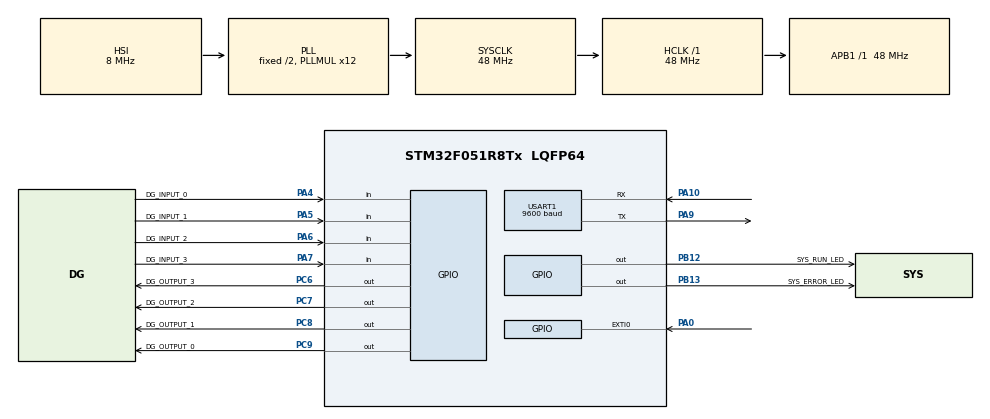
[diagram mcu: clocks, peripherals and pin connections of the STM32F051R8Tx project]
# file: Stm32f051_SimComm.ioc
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IWDG.Prescaler=IWDG_PRESCALER_4
Mcu.Family=STM32F0
Mcu.Name=STM32F051R8Tx
Mcu.Package=LQFP64
NVIC.EXTI0_1_IRQn=true\:0\:0\:false\:false\:true\:true\:true
NVIC.USART1_IRQn=true\:0\:0\:false\:false\:true\:true\:true
PA0.Signal=GPXTI0
PA10.Mode=Asynchronous
PA10.Signal=USART1_RX
PA13.GPIO_Label=SWDIO
PA13.Mode=Serial_Wire
PA13.Signal=SYS_SWDIO
PA14.GPIO_Label=SWCLK
PA14.Mode=Serial_Wire
PA14.Signal=SYS_SWCLK
PA4.GPIO_Label=DG_INPUT_0
PA4.Signal=GPIO_Input
PA5.GPIO_Label=DG_INPUT_1
PA5.Signal=GPIO_Input
PA6.GPIO_Label=DG_INPUT_2
PA6.Signal=GPIO_Input
PA7.GPIO_Label=DG_INPUT_3
PA7.Signal=GPIO_Input
PA9.Mode=Asynchronous
PA9.Signal=USART1_TX
PB12.GPIO_Label=SYS_RUN_LED
PB12.Signal=GPIO_Output
PB13.GPIO_Label=SYS_ERROR_LED
PB13.Signal=GPIO_Output
PC6.GPIO_Label=DG_OUTPUT_3
PC6.PinState=GPIO_PIN_RESET
PC6.Signal=GPIO_Output
PC7.GPIO_Label=DG_OUTPUT_2
PC7.PinState=GPIO_PIN_RESET
PC7.Signal=GPIO_Output
PC8.GPIO_Label=DG_OUTPUT_1
PC8.PinState=GPIO_PIN_RESET
PC8.Signal=GPIO_Output
PC9.GPIO_Label=DG_OUTPUT_0
PC9.PinState=GPIO_PIN_RESET
PC9.Signal=GPIO_Output
ProjectManager.HeapSize=0x200
ProjectManager.StackSize=0x400
ProjectManager.TargetToolchain=STM32CubeIDE
RCC.AHBFreq_Value=48000000
RCC.APB1Freq_Value=48000000
RCC.APB1TimFreq_Value=48000000
RCC.HCLKFreq_Value=48000000
RCC.PLLMUL=RCC_PLL_MUL12
RCC.SYSCLKFreq_VALUE=48000000
RCC.SYSCLKSource=RCC_SYSCLKSOURCE_PLLCLK
USART1.BaudRate=9600
USART1.VirtualMode-Asynchronous=VM_ASYNC
VP_IWDG_VS_IWDG.Mode=IWDG_Activate
board=STM32F0DISCOVERY

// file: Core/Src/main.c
/* USER CODE BEGIN Header */
/**
 ******************************************************************************
 * @file           : main.c
 * @brief          : Main program body
 ******************************************************************************
 * @attention
 *
 * <h2><center>&copy; Copyright (c) 2020 STMicroelectronics.
 * All rights reserved.</center></h2>
 *
 * This software component is licensed by ST under BSD 3-Clause license,
 * the "License"; You may not use this file except in compliance with the
 * License. You may obtain a copy of the License at:
 *                        opensource.org/licenses/BSD-3-Clause
 *
 ******************************************************************************
 */
/* USER CODE END Header */

#include "main.h"

/* USER CODE BEGIN PD */

#define FLASH_ADRESS_PASS	0x0800FC00
#define FLASH_ADRESS_PHONE	0x0800F800
/* USER CODE END PD */

IWDG_HandleTypeDef hiwdg;
UART_HandleTypeDef huart1;

/* USER CODE BEGIN PV */
char rxData[2];
char rxBuffer[200];
int rCount = 0;
int rxindex = 0;
int smsRecFlag = 0;

volatile char responsePhone[14];

/* USER CODE END PV */

void SystemClock_Config(void);
static void MX_GPIO_Init(void);
static void MX_USART1_UART_Init(void);
static void MX_IWDG_Init(void);

/* USER CODE BEGIN 0 */

void clearBuffer() {
	rCount = 0;
	rxindex = 0;
	int i = 0;
	for (i = 0; i < 200; i++) {
		rxBuffer[i] = '\0';
	}
}
//TODO:SMS GONDERDİKTEN SONRA, ALDIĞI İLK SMS E İŞLEM YAPMIYOR. GONDERDİĞİ IKINCI DEN SONR
void sendSms(char *message, char *number) {

	char str[32];
	strcpy(str, "AT+CMGS=\"");
	strcat(str, number);
	strcat(str, "\"\n");
	HAL_UART_Transmit(&huart1, str, 24, 1000);
	HAL_Delay(1000);

	int smsSize = strlen(message);
	HAL_UART_Transmit(&huart1, message, smsSize, 1000);
	HAL_Delay(1000);
	char foo[] = { 26 }; //Sonlandırma Karakteri 1Ah
	int s;
	s = sizeof(foo);
	HAL_UART_Transmit(&huart1, foo, s, 1000);
	HAL_Delay(1000);

}

void halWriteFlash(uint16_t pass,uint16_t phone1,uint16_t phone2) {
	HAL_FLASH_Unlock();
	FLASH_PageErase(0x0800FC00);

	//0x00000042 in tersleniği 0xFFFFFFBD ile AND işlemine tabi tut. \
	Diğer Bitler Değişmeden CR.PER=0 ve CR.STRT=0 yapılıyor.
	FLASH->CR &= ~0x00000042;

	HAL_FLASH_Program(FLASH_TYPEPROGRAM_HALFWORD, 0x0800FC00, pass);
	HAL_FLASH_Program(FLASH_TYPEPROGRAM_HALFWORD, 0x0800FC02, phone1);
	HAL_FLASH_Program(FLASH_TYPEPROGRAM_HALFWORD, 0x0800FC04, phone2);

	HAL_FLASH_Lock();
}

uint16_t charPassToInt(char pass[]){

	uint32_t resultPass=atoi(pass);
	return resultPass;
}

void halfWordPhonetoChar(uint16_t p0,uint16_t p1, char *resultPhone){
	uint32_t phone32=p1;
	phone32=phone32<<16;
	phone32=phone32|p0;

	char str[14];
	char temp[14];
	sprintf(str, "%d", phone32);
	for(int i=0;i<14;i++){
		temp[i+4]=str[i];
	}

	temp[3]='5';
	temp[2]='0';
	temp[1]='9';
	temp[0]='+';
	strcpy(resultPhone, temp);

}

uint16_t phoneCharToIntLastSeg(char phoneNumber[]){
		char phones[10];
		for(int i=0;i<10;i++){
			phones[i]=phoneNumber[4+i];
		}
		phones[9]='\0';
		uint32_t pNumber=atoi(phones);
		uint16_t resultPhoneSegMSB=pNumber>>16;
		return resultPhoneSegMSB;
}

uint16_t phoneCharToIntFirstSeg(char phoneNumber[]){
		char phones[10];
		for(int i=0;i<10;i++){
			phones[i]=phoneNumber[4+i];
		}
		phones[9]='\0';
		uint32_t pNumber=atoi(phones);
		uint16_t resultPhoneSegLSB=pNumber&0x0000FFFF;
		return resultPhoneSegLSB;
}

void removeSpecialChar(char *text, char removed_char) {
	char *src, *temp;
	for (src = temp = text; *src != '\0'; src++) {
		*temp = *src;
		if (*temp != removed_char) {
			temp++;
		}
	}
	*temp = '\0';
}

int16_t charToAscii(char *pass) {
	uint8_t sayilar = 0;
	uint8_t karakterler = 0;
	int temp = 0;
	for (karakterler = 0; karakterler < 4; karakterler++) {
		for (sayilar = 0; sayilar < 10; sayilar++) {
			if (pass[karakterler] == sayilar + 48) {
				temp = temp << 4;
				temp = temp | sayilar;
			}
		}
	}
	return temp;
}

void getCommandsFromSms(char *sms, char *resultPassw, char *resultCommand,char *resultSubCmd, char *resultCmdTarget) {

	//TODO Komuttan Başka Mesaj geldiğinde Çkış Yapmalı

	char dizi[200];
	strcpy(dizi, sms);
	char *pass = strtok(dizi, "_");
	char *command = strtok(NULL, "_");
	char *subCommand = strtok(NULL, "_");
	char *commandTarget = strtok(NULL, "_");
	uint8_t leght = strlen(pass);
	char tempPassw[5];

	if (leght > 4) {

		tempPassw[4] = '\0';
		tempPassw[3] = pass[leght - 1];
		tempPassw[2] = pass[leght - 2];
		tempPassw[1] = pass[leght - 3];
		tempPassw[0] = pass[leght - 4];
	}

	removeSpecialChar(tempPassw, '\r');
	removeSpecialChar(tempPassw, '\n');
	strcpy(resultPassw, tempPassw);

	removeSpecialChar(command, '\r');
	removeSpecialChar(command, '\n');
	strcpy(resultCommand, command);

	removeSpecialChar(subCommand, '\r');
	removeSpecialChar(subCommand, '\n');
	strcpy(resultSubCmd, subCommand);

	removeSpecialChar(commandTarget, '\r');
	removeSpecialChar(commandTarget, '\n');
	strcpy(resultCmdTarget, commandTarget);
}

const char* phoneNumber(char *sms) {

	int phoneNumberStart = 0;
	int phoneNumberStop = 0;
	int phoneNumberLeght = 0;
	char *tempSMS = sms;

	uint8_t i = 0;
	while (*tempSMS != '+') {
		tempSMS++;
		phoneNumberStart++;
	}
	tempSMS++;
	while (*tempSMS != '+') {
		tempSMS++;
		phoneNumberStart++;
	}
	phoneNumberStop = 13;
	char *phoneNumberVal = (char*) malloc(phoneNumberStop);
	char dizi[200];
	strcpy(dizi, tempSMS);
	strncpy(phoneNumberVal, dizi, phoneNumberStop);
	phoneNumberVal[phoneNumberStop] = '\0';
	return phoneNumberVal;
}

const char* atCommand(char *sms) {
	int atCommandStart = 0;
	int atCommandStop = 0;
	int atCommandLeght = 0;
	char *tempCommand = sms;
	int lenSms = strlen(sms);
	int i = 0;

	while ((*tempCommand != '+') && (atCommandStart < lenSms)) {
		tempCommand++;
		atCommandStart++;
	}
	tempCommand = sms;
	while ((*tempCommand != ':') && (atCommandStart < lenSms)) {
		tempCommand++;
		atCommandStop++;
	}
	atCommandLeght = atCommandStop - atCommandStart;
	if (atCommandLeght > 0) {
		char *atCommandVal = (char*) malloc(atCommandLeght);

		char dizi[lenSms];
		strcpy(dizi, sms + atCommandStart + 1);
		strncpy(atCommandVal, dizi, atCommandLeght);
		atCommandVal[atCommandLeght] = '\0';
		return atCommandVal;
	} else {
		return NULL;
	}
}

//TODO:rxBuffer i parametre olarak almak gerekebilir
void CMT_Message() {

	volatile char passw[6];//sms den gelen sifre
	volatile char command[6];//sms den gelen komut
	volatile char subCommand[6];//sms den gene alt komut
	volatile char commandTarget[5];//sms den gelen  komut hedefi

	const char *phone = phoneNumber(rxBuffer);//sms in atıldığı telefon numarasını alır

	getCommandsFromSms(rxBuffer, passw, command, subCommand, commandTarget);//sms içindeki passw vb alır

	//uint16_t tempPass = charToAscii(passw);
	//uint32_t tempPhone=charToAscii(phone);

	uint16_t passIntSromSMS=charPassToInt(passw);
	volatile uint16_t resultPhoneSegLSB_FromSMS;
	volatile uint16_t resultPhoneSegMSB_FromSMS;
	resultPhoneSegLSB_FromSMS=phoneCharToIntFirstSeg(phone);
	resultPhoneSegMSB_FromSMS=phoneCharToIntLastSeg(phone);
	//Flashdaki son sektor okunuyor
	uint16_t fPass = *(uint16_t*) 0x0800FC00;
	uint16_t fphoneLSB=*(uint16_t*) 0x0800FC02;//flash telefon numarasının lsb si ///TELEFON NUMARARININ BAŞINDA +905 yok
	uint16_t fphoneMSB=*(uint16_t*) 0x0800FC04;//flash da bulunan telefon numarasının msb si

	if(fPass==65535){fPass=0;}//ilk kez çalıştırılıyorsa şifre 0000 girilmeli. flash daki değer 65535 0xFFFF
	if (passIntSromSMS==fPass) {

		/* SMS den gelen telefon numarası yada daha önceden kaydedilmiş flash dan okunan Telefon Numarasının cevap numarası için kullanılıyor
		 * şu anda kumut atılmış numaradan sms den gelen numaraya dönüş yapılıyor. phone "sms den gelen telefon numarasıdır"
		volatile char responsePhone[14];
		halfWordPhonetoChar(resultPhoneSegLSB_FromSMS,resultPhoneSegMSB_FromSMS, responsePhone);
		*/
		if (!(strcmp(command, "Passw"))) {	//ESKI_Passw_Chg_YENI
			//PASSWORD KOMUT FONKSIYONLARI
			if (!(strcmp(subCommand, "Chg"))) {
				uint16_t passFromCharToInt=charPassToInt(commandTarget);
				halWriteFlash(passFromCharToInt, resultPhoneSegLSB_FromSMS, resultPhoneSegMSB_FromSMS);

				sendSms("Sifre ve Cevap Sms Numarasi Degistirildi",phone);
				//changePass(charToAscii(commandTarget));
			}
		}

		if (!(strcmp(command, "Start\0"))) {
			//START KOMUT FONKSIYONLARI
			if (!(strcmp(subCommand, "Motor\0"))) {
				if (!(strcmp(commandTarget, "001"))) {
					HAL_GPIO_WritePin(DG_OUTPUT_0_GPIO_Port, DG_OUTPUT_0_Pin,
							GPIO_PIN_SET);
					sendSms("OK", phone);

				}
				if (!(strcmp(commandTarget, "002"))) {
					HAL_GPIO_WritePin(DG_OUTPUT_1_GPIO_Port, DG_OUTPUT_1_Pin,
							GPIO_PIN_SET);
					sendSms("OK", phone);

				}

				if (!(strcmp(commandTarget, "003"))) {
					HAL_GPIO_WritePin(DG_OUTPUT_2_GPIO_Port, DG_OUTPUT_2_Pin,
							GPIO_PIN_SET);
					sendSms("OK", phone);

				}

				if (!(strcmp(commandTarget, "004"))) {

					HAL_GPIO_WritePin(DG_OUTPUT_3_GPIO_Port, DG_OUTPUT_3_Pin,
							GPIO_PIN_SET);
					sendSms("OK", phone);

				}
			}
		}
		if (!(strcmp(command, "Stop\0"))) {
			//STOP KOMUT FONKSIYONLARI
			if (!(strcmp(subCommand, "Motor"))) {
				if (!(strcmp(commandTarget, "001"))) {
					HAL_GPIO_WritePin(DG_OUTPUT_0_GPIO_Port, DG_OUTPUT_0_Pin,
							GPIO_PIN_RESET);
					sendSms("OK", phone);

				}
				if (!(strcmp(commandTarget, "002"))) {
					HAL_GPIO_WritePin(DG_OUTPUT_1_GPIO_Port, DG_OUTPUT_1_Pin,
							GPIO_PIN_RESET);
					sendSms("OK", phone);

				}

				if (!(strcmp(commandTarget, "003"))) {
					HAL_GPIO_WritePin(DG_OUTPUT_2_GPIO_Port, DG_OUTPUT_2_Pin,
							GPIO_PIN_RESET);
					sendSms("OK", phone);

				}

				if (!(strcmp(commandTarget, "004"))) {
					HAL_GPIO_WritePin(DG_OUTPUT_3_GPIO_Port, DG_OUTPUT_3_Pin,
							GPIO_PIN_RESET);
					sendSms("OK", phone);

				}
			}
		}

		if (!(strcmp(command, "Check\0"))) {
			//KONTROL KOMUT FONKSIYONLARI
			if (!(strcmp(subCommand, "Input\0"))) {
				if (!(strcmp(commandTarget, "001"))) {
					int t = HAL_GPIO_ReadPin(DG_INPUT_0_GPIO_Port,
					DG_INPUT_0_Pin);
					if (t == 0) {
						sendSms("INPUT 001 RESET", phone);
					}

					if (t == 1) {
						sendSms("INPUT 001 SET", phone);
					}

				}
				if (!(strcmp(commandTarget, "002"))) {
					int t = HAL_GPIO_ReadPin(DG_INPUT_1_GPIO_Port,
					DG_INPUT_0_Pin);

					if (t == 0) {
						sendSms("INPUT 002 RESET", phone);
					}

					if (t == 1) {
						sendSms("INPUT 002 SET", phone);
					}
				}

				if (!(strcmp(commandTarget, "003"))) {
					int t = HAL_GPIO_ReadPin(DG_INPUT_2_GPIO_Port,
					DG_INPUT_2_Pin);
					if (t == 0) {
						sendSms("INPUT 003 RESET", phone);
					}

					if (t == 1) {
						sendSms("INPUT 003 SET", phone);
					}
				}
				if (!(strcmp(commandTarget, "004"))) {
					int t = HAL_GPIO_ReadPin(DG_INPUT_3_GPIO_Port,
					DG_INPUT_3_Pin);
					if (t == 0) {
						sendSms("INPUT 004 RESET", phone);
					}

					if (t == 1) {
						sendSms("INPUT 004 SET", phone);
					}
				}
			}
			if (!(strcmp(subCommand, "Sytem"))) {
				if (!(strcmp(commandTarget, "Res"))) {
					HAL_NVIC_SystemReset();

				}

			}
		}

	}
}

char getTimeFromSim(char *message, char time[]) {

	int i = 0;
	for (i = 0; i < 18; i++) {
		time[i] = message[10 + i];
	}
	time[17] = NULL;

}

void CCLK_Message() {
	char myTime[18];
	getTimeFromSim(rxBuffer, myTime);
}

//TODO: rxBuffer parametre olarak almak gerekir
void readSMS() {
	//int bufferSize = strlen(rxBuffer) - 1;
	//int mesajSize = 21;
	//int bufferSplitSize = bufferSize - mesajSize;

	const char *atCommandFromSms = atCommand(rxBuffer);	//rxBuffer usart interrupt tarafından dolduruluyor

	//TODO: SMS ATTIKTAN SONRA CMGS: mesajı geliyor nedir ?
	if (!(strcmp(atCommandFromSms, "CMT:"))) {	//SMS
		CMT_Message();
	} else if (!(strcmp(atCommandFromSms, "CCLK:"))) {	//ZAMAN BILGISI
		CCLK_Message();
		/*Details:"\r\n+CMGS: 117\r\n\r\n", '\0' <repeats 183 times>
		 * //SMS ATTIKTAN SONRA GELİYOR.
		 */

	} else {
		__asm__("nop");
	}

	clearBuffer();
	HAL_Delay(1000);
}

void HAL_UART_RxCpltCallback(UART_HandleTypeDef *huart) {
	if (huart->Instance == USART1) {
		if (rxData[0] == '\r') {
			rCount++;
		}
		if (rCount == 2) {
			__asm__("nop");
			//VERİ GELDİ KONTROL ET
		}

		if (rCount == 3) {
			__asm__("nop");
			//SMS VERİ GELDİ KONTROL ET
			smsRecFlag = 1;

		}
		rxBuffer[rxindex++] = rxData[0];
		HAL_UART_Receive_IT(&huart1, rxData, 1);
	}
}
/* USER CODE END 0 */

int main(void)
{

  /* MCU Configuration--------------------------------------------------------*/

  /* Reset of all peripherals, Initializes the Flash interface and the Systick. */
  HAL_Init();

  /* Configure the system clock */
  SystemClock_Config();

  /* USER CODE BEGIN SysInit */

	//HAL_Delay(10000);
  /* USER CODE END SysInit */

  /* Initialize all configured peripherals */
  MX_GPIO_Init();
  MX_USART1_UART_Init();

  /* USER CODE BEGIN 2 */

	//AT+CNMI=2,2,0,0  AT+CNMI=1,2,0,0,0

/*
  	  char netData[20];
  	char netVal;
	while(netVal!="1") {	//SMS

		HAL_UART_Transmit(&huart1, "AT+CREG?\n", 9, 1000);
		HAL_UART_Receive(&huart1, netData, 20, 1000);
		//char *head = strtok(netData, "OK");
		//char *net = strtok(NULL, "\0");
		//netVal=net;
		HAL_Delay(500);
		HAL_GPIO_TogglePin(SYS_ERROR_LED_GPIO_Port, SYS_ERROR_LED_Pin);
	}

*/
  	HAL_UART_Receive_IT(&huart1, rxData, 1);	//USART INT ENABLE.

	HAL_UART_Transmit(&huart1, "ATE0\n", 5, 1000);
	HAL_Delay(1000);

	HAL_UART_Transmit(&huart1, "AT+CMGF=1\n", 10, 1000);	//SMS TEXT MODE
	HAL_Delay(1000);

	HAL_UART_Transmit(&huart1, "AT+CNMI=2,2,0,0\n", 16, 1000);
	HAL_Delay(1000);

	//HAL_UART_Transmit(&huart1, "AT+CNMI=1, 2, 0, 0, 0\n", 22, 1000);

  /* USER CODE END 2 */

  /* Infinite loop */
  /* USER CODE BEGIN WHILE */
	uint16_t fphoneLSB=*(uint16_t*) 0x0800FC02;
	uint16_t fphoneMSB=*(uint16_t*) 0x0800FC04;

	halfWordPhonetoChar(fphoneLSB,fphoneMSB, responsePhone);
	sendSms("Sistem Calismaya Basladi\0", responsePhone);

	//MX_IWDG_Init();
	while (1) {

		HAL_GPIO_TogglePin(SYS_RUN_LED_GPIO_Port,SYS_RUN_LED_Pin);
		//HAL_IWDG_Refresh(&hiwdg);	//WD RESET 27sec
		HAL_Delay(50);

		if (smsRecFlag) {
			NVIC_DisableIRQ(USART1_IRQn);
			readSMS();	//TODO: SMS DEĞİL MESAJ GELDİ
			smsRecFlag = 0;
			NVIC_EnableIRQ(USART1_IRQn);

		}

    /* USER CODE END WHILE */

	}
}

void SystemClock_Config(void)
{
  RCC_OscInitTypeDef RCC_OscInitStruct = {0};
  RCC_ClkInitTypeDef RCC_ClkInitStruct = {0};
  RCC_PeriphCLKInitTypeDef PeriphClkInit = {0};

  /** Initializes the CPU, AHB and APB busses clocks
  */
  RCC_OscInitStruct.OscillatorType = RCC_OSCILLATORTYPE_HSI|RCC_OSCILLATORTYPE_LSI;
  RCC_OscInitStruct.HSIState = RCC_HSI_ON;
  RCC_OscInitStruct.HSICalibrationValue = RCC_HSICALIBRATION_DEFAULT;
  RCC_OscInitStruct.LSIState = RCC_LSI_ON;
  RCC_OscInitStruct.PLL.PLLState = RCC_PLL_ON;
  RCC_OscInitStruct.PLL.PLLSource = RCC_PLLSOURCE_HSI;
  RCC_OscInitStruct.PLL.PLLMUL = RCC_PLL_MUL12;
  RCC_OscInitStruct.PLL.PREDIV = RCC_PREDIV_DIV1;
  if (HAL_RCC_OscConfig(&RCC_OscInitStruct) != HAL_OK)
  {
    Error_Handler();
  }
  /** Initializes the CPU, AHB and APB busses clocks
  */
  RCC_ClkInitStruct.ClockType = RCC_CLOCKTYPE_HCLK|RCC_CLOCKTYPE_SYSCLK
                              |RCC_CLOCKTYPE_PCLK1;
  RCC_ClkInitStruct.SYSCLKSource = RCC_SYSCLKSOURCE_PLLCLK;
  RCC_ClkInitStruct.AHBCLKDivider = RCC_SYSCLK_DIV1;
  RCC_ClkInitStruct.APB1CLKDivider = RCC_HCLK_DIV1;

  if (HAL_RCC_ClockConfig(&RCC_ClkInitStruct, FLASH_LATENCY_1) != HAL_OK)
  {
    Error_Handler();
  }
  PeriphClkInit.PeriphClockSelection = RCC_PERIPHCLK_USART1;
  PeriphClkInit.Usart1ClockSelection = RCC_USART1CLKSOURCE_PCLK1;
  if (HAL_RCCEx_PeriphCLKConfig(&PeriphClkInit) != HAL_OK)
  {
    Error_Handler();
  }
}

static void MX_IWDG_Init(void)
{

  hiwdg.Instance = IWDG;
  hiwdg.Init.Prescaler = IWDG_PRESCALER_4;
  hiwdg.Init.Window = 4095;
  hiwdg.Init.Reload = 4095;
  if (HAL_IWDG_Init(&hiwdg) != HAL_OK)
  {
    Error_Handler();
  }

}

static void MX_USART1_UART_Init(void)
{

  huart1.Instance = USART1;
  huart1.Init.BaudRate = 9600;
  huart1.Init.WordLength = UART_WORDLENGTH_8B;
  huart1.Init.StopBits = UART_STOPBITS_1;
  huart1.Init.Parity = UART_PARITY_NONE;
  huart1.Init.Mode = UART_MODE_TX_RX;
  huart1.Init.HwFlowCtl = UART_HWCONTROL_NONE;
  huart1.Init.OverSampling = UART_OVERSAMPLING_16;
  huart1.Init.OneBitSampling = UART_ONE_BIT_SAMPLE_DISABLE;
  huart1.AdvancedInit.AdvFeatureInit = UART_ADVFEATURE_NO_INIT;
  if (HAL_UART_Init(&huart1) != HAL_OK)
  {
    Error_Handler();
  }

}

static void MX_GPIO_Init(void)
{
  GPIO_InitTypeDef GPIO_InitStruct = {0};

  /* GPIO Ports Clock Enable */
  __HAL_RCC_GPIOA_CLK_ENABLE();
  __HAL_RCC_GPIOB_CLK_ENABLE();
  __HAL_RCC_GPIOC_CLK_ENABLE();

  /*Configure GPIO pin Output Level */
  HAL_GPIO_WritePin(GPIOB, SYS_RUN_LED_Pin|SYS_ERROR_LED_Pin, GPIO_PIN_RESET);

  /*Configure GPIO pin Output Level */
  HAL_GPIO_WritePin(GPIOC, DG_OUTPUT_3_Pin|DG_OUTPUT_2_Pin|DG_OUTPUT_1_Pin|DG_OUTPUT_0_Pin, GPIO_PIN_RESET);

  /*Configure GPIO pin : PA0 */
  GPIO_InitStruct.Pin = GPIO_PIN_0;
  GPIO_InitStruct.Mode = GPIO_MODE_IT_RISING;
  GPIO_InitStruct.Pull = GPIO_NOPULL;
  HAL_GPIO_Init(GPIOA, &GPIO_InitStruct);

  /*Configure GPIO pins : DG_INPUT_0_Pin DG_INPUT_1_Pin DG_INPUT_2_Pin DG_INPUT_3_Pin */
  GPIO_InitStruct.Pin = DG_INPUT_0_Pin|DG_INPUT_1_Pin|DG_INPUT_2_Pin|DG_INPUT_3_Pin;
  GPIO_InitStruct.Mode = GPIO_MODE_INPUT;
  GPIO_InitStruct.Pull = GPIO_NOPULL;
  HAL_GPIO_Init(GPIOA, &GPIO_InitStruct);

  /*Configure GPIO pins : SYS_RUN_LED_Pin SYS_ERROR_LED_Pin */
  GPIO_InitStruct.Pin = SYS_RUN_LED_Pin|SYS_ERROR_LED_Pin;
  GPIO_InitStruct.Mode = GPIO_MODE_OUTPUT_PP;
  GPIO_InitStruct.Pull = GPIO_NOPULL;
  GPIO_InitStruct.Speed = GPIO_SPEED_FREQ_LOW;
  HAL_GPIO_Init(GPIOB, &GPIO_InitStruct);

  /*Configure GPIO pins : DG_OUTPUT_3_Pin DG_OUTPUT_2_Pin DG_OUTPUT_1_Pin DG_OUTPUT_0_Pin */
  GPIO_InitStruct.Pin = DG_OUTPUT_3_Pin|DG_OUTPUT_2_Pin|DG_OUTPUT_1_Pin|DG_OUTPUT_0_Pin;
  GPIO_InitStruct.Mode = GPIO_MODE_OUTPUT_PP;
  GPIO_InitStruct.Pull = GPIO_NOPULL;
  GPIO_InitStruct.Speed = GPIO_SPEED_FREQ_LOW;
  HAL_GPIO_Init(GPIOC, &GPIO_InitStruct);

  /* EXTI interrupt init*/
  HAL_NVIC_SetPriority(EXTI0_1_IRQn, 0, 0);
  HAL_NVIC_EnableIRQ(EXTI0_1_IRQn);

}

void Error_Handler(void)
{
}

/************************ (C) COPYRIGHT STMicroelectronics *****END OF FILE****/
